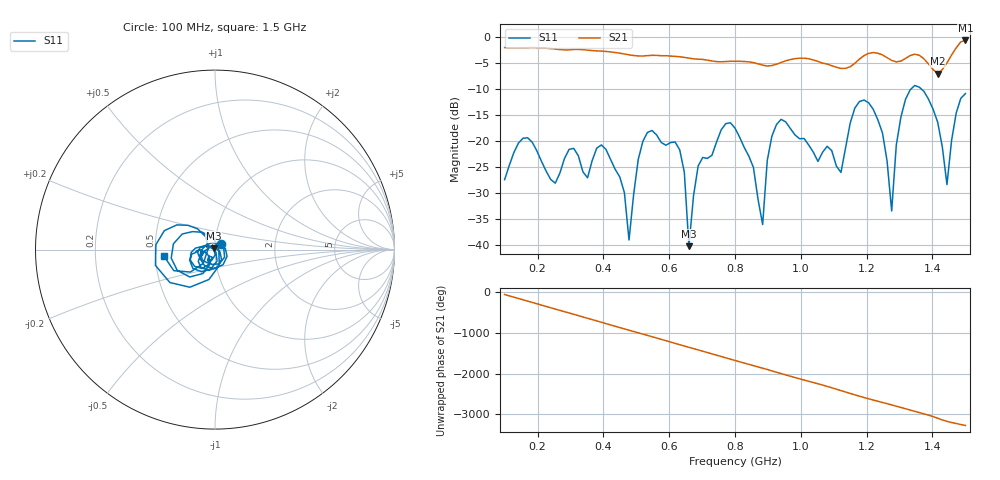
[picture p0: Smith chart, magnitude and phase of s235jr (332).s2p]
! NanoVNA-App
! Date: 2025-09-25 15:06:45
! Start: 100MHz Stop: 1,5GHz Points: 101
! S-Parameter data: F S11 S21 S12 S22
# Hz S RI R 50
!  Frequency  S11_Real  S11_Imag  S21_Real  S21_Imag  S12_Real  S12_Imag  S22_Real  S22_Imag
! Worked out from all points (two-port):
!   101 points, 100 MHz to 1.5 GHz, reference 50 ohm
!   highest |S21| = -0.59 dB at 1.5 GHz (marker M1); lowest = -7.0 dB at 1.416 GHz (marker M2)
!   |S21| within 3 dB of the highest: start of sweep to 515.8 MHz; 521.1 MHz to 600.8 MHz (79.7 MHz wide, 14.2 % of centre) (the widest 2 of 5)
!   lowest |S11| = -40.3 dB at 660 MHz (marker M3), VSWR 1.02, Z = 49.3 + j0.627 ohm
!   |S11| at or under -10 dB: start of sweep to 1.334 GHz; 1.367 GHz to end of sweep
!   S12 and S22 are empty: the file has one direction only
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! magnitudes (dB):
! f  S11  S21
! 100 MHz  -27.5  -2.0
! 156 MHz  -19.5  -2.1
! 338 MHz  -26.0  -2.4
! 408 MHz  -21.6  -2.7
! 478 MHz  -39.1  -3.4
! 520 MHz  -20.1  -3.6
! 576 MHz  -20.3  -3.5
! 632 MHz  -21.7  -3.7
! 660 MHz  -40.3  -4.0
! 688 MHz  -24.8  -4.2
! 800 MHz  -17.5  -4.6
! 884 MHz  -36.1  -5.4
! 926 MHz  -16.8  -5.2
! 1.038 GHz  -22.2  -4.4
! 1.122 GHz  -26.1  -6.0
! 1.206 GHz  -12.6  -3.1
! 1.276 GHz  -33.5  -4.4
! 1.29 GHz  -20.8  -4.7
! 1.332 GHz  -10.1  -3.5
! 1.416 GHz  -16.4  -7.0
! 1.444 GHz  -28.4  -4.9
! 1.5 GHz  -10.9  -0.6
